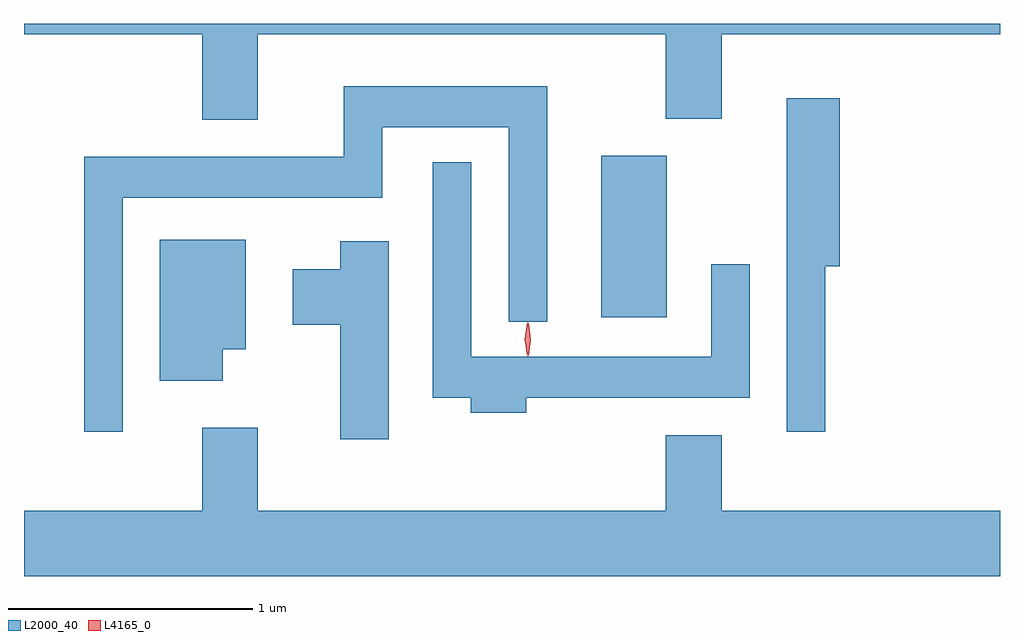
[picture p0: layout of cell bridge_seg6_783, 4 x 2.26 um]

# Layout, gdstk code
import gdstk
lib = gdstk.Library(unit=1e-6, precision=1e-09)
def R(c, l, rs):  # rectangles x0, y0, x1, y1
    for r in rs: c.add(gdstk.rectangle(r[:2], r[2:], *l))
def P(c, l, *ps):  # polygons
    for p in ps: c.add(gdstk.Polygon(p, *l))
L2000_40 = (2000, 40)
L4165_0 = (4165, 0)

bridge_seg6_783 = lib.new_cell('bridge_seg6_783')
R(bridge_seg6_783, L2000_40, [(547.516,1597.716,547.784,1598.379)])
P(bridge_seg6_783, L2000_40, [(546.109,1598.876),(547.781,1598.876),(547.781,1598.531),(548.009,1598.531),(548.009,1598.876),(549.15,1598.876),(549.15,1598.919),(545.15,1598.919),(545.15,1598.876),(545.881,1598.876),(545.881,1598.526),(546.109,1598.526)],
  [(545.554,1598.206),(546.619,1598.206),(546.619,1598.496),(547.136,1598.496),(547.136,1597.698),(547.294,1597.698),(547.294,1598.664),(546.461,1598.664),(546.461,1598.374),(545.396,1598.374),(545.396,1597.248),(545.554,1597.248)],
  [(548.434,1597.926),(548.494,1597.926),(548.494,1598.614),(548.276,1598.614),(548.276,1597.248),(548.434,1597.248)],
  [(547.209,1597.386),(548.124,1597.386),(548.124,1597.933),(547.966,1597.933),(547.966,1597.554),(546.984,1597.554),(546.984,1598.353),(546.826,1598.353),(546.826,1597.386),(546.981,1597.386),(546.981,1597.326),(547.209,1597.326)],
  [(545.964,1597.586),(546.059,1597.586),(546.059,1598.034),(545.706,1598.034),(545.706,1597.456),(545.964,1597.456)],
  [(546.644,1598.029),(546.446,1598.029),(546.446,1597.914),(546.251,1597.914),(546.251,1597.686),(546.446,1597.686),(546.446,1597.216),(546.644,1597.216)],
  [(549.15,1596.924),(548.009,1596.924),(548.009,1597.234),(547.781,1597.234),(547.781,1596.924),(546.109,1596.924),(546.109,1597.264),(545.881,1597.264),(545.881,1596.924),(545.15,1596.924),(545.15,1596.656),(549.15,1596.656)])
P(bridge_seg6_783, L4165_0, [(547.217,1597.56),(547.217,1597.56),(547.207,1597.626),(547.217,1597.692),(547.217,1597.693),(547.218,1597.692),(547.227,1597.626),(547.218,1597.56)],
  [(547.212,1597.557),(547.212,1597.558),(547.202,1597.627),(547.212,1597.696),(547.212,1597.696),(547.213,1597.696),(547.222,1597.627),(547.213,1597.558)])

lib.write_gds('bridge_seg6_783.gds')
